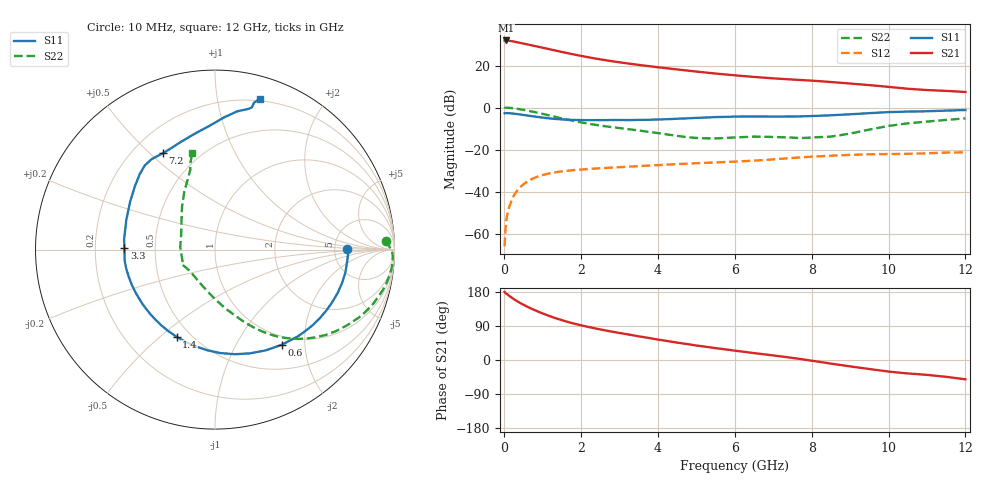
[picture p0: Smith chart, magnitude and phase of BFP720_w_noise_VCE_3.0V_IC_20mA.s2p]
! Infineon Technologies  Discrete & RF Semiconductors
! BFP720
! VCE =  3.0 V,  IC =  20 mA
! Common Emitter S-Parameters:  Aug 2012
# GHz  S  MA  R  50
!  f  S11  S21  S12  S22
! GHz  MAG  ANG  MAG  ANG  MAG  ANG  MAG  ANG
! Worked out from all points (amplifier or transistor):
!   105 points, 10 MHz to 12 GHz, reference 50 ohm
!   highest |S21| = 32.0 dB at 50 MHz (marker M1)
!   |S21| within 3 dB of that: start of sweep to 884.8 MHz
!   unconditionally stable (mu >= 1): start of sweep to 11.93 MHz; 4.437 GHz to 10.66 GHz
!   at 300 MHz: K = 0.15, MSG = 35.9 dB, |S12| = -40.5 dB
!   at 3.6 GHz: K = 0.89, MSG = 24.0 dB, |S12| = -27.8 dB
!   at 12 GHz: K = 0.76, MSG = 14.4 dB, |S12| = -21.3 dB
!   lowest NFmin = 0.77 dB at 450 MHz
!   S11 on the Smith chart (normalised r, x): 10 MHz: 6.50, +0.14; 600 MHz: 0.86, -1.57; 1.4 GHz: 0.42, -0.57; 3.3 GHz: 0.33, +0.01; 7.2 GHz: 0.32, +0.55; 12 GHz: 0.18, +1.32
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0.01  0.7334 0.4  39.49 179.8  0.0005 -68.4  0.9523 2.9
0.02  0.7421 -1.7  39.65 177.7  0.0008 98.6  0.9847 -0.2
0.05  0.7396 -4.7  39.75 175.5  0.0019 85.0  0.9915 -2.2
0.15  0.7322 -14.7  38.86 167.8  0.0048 82.8  0.9839 -8.3
0.3  0.7071 -28.7  36.62 157.4  0.0094 76.0  0.9462 -16.3
0.45  0.6775 -42.1  34.26 148.5  0.0135 69.8  0.9004 -23.5
0.6  0.6476 -55.0  32.06 140.7  0.0173 64.4  0.8483 -29.8
0.8  0.6097 -71.5  29.28 131.3  0.0214 57.9  0.7789 -37.6
1  0.5774 -86.9  26.67 122.8  0.0247 52.3  0.7084 -44.5
1.2  0.5503 -101.1  24.31 115.2  0.0273 47.7  0.6423 -50.3
1.4  0.531 -113.8  22.15 108.3  0.0294 43.8  0.582 -55.5
1.7  0.5123 -130.3  19.35 99.2  0.0317 39.5  0.5047 -61.8
2.1  0.5029 -146.9  16.38 89.3  0.034 35.6  0.4284 -68.6
2.6  0.5039 -162.5  13.63 78.6  0.0363 32.6  0.3623 -75.7
3.3  0.5051 178.7  11.01 66.1  0.0394 30.0  0.3003 -85.0
4.1  0.5242 159.0  8.93 52.4  0.0431 27.6  0.2394 -99.2
5  0.569 141.7  7.218 38.2  0.0473 25.0  0.1892 -126.1
6.1  0.6113 128.9  5.772 23.4  0.0522 22.8  0.1964 -152.8
7.2  0.6111 118.3  4.843 9.5  0.0603 20.8  0.197 -158.0
8.5  0.6562 99.7  4.069 -9.6  0.0713 12.8  0.2034 158.2
10.5  0.8037 76.9  2.811 -35.5  0.0791 -1.1  0.4217 111.0
12  0.8752 73.5  2.352 -51.0  0.086 -10.4  0.5537 103.1
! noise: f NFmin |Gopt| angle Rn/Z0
0.45  0.77  0.18  1  0.29
1.8  0.82  0.18  8  0.14
2.4  0.88  0.18  11  0.54
5.5  1.11  0.17  -64  0.18
10  1.26  0.48  -71  0.33
